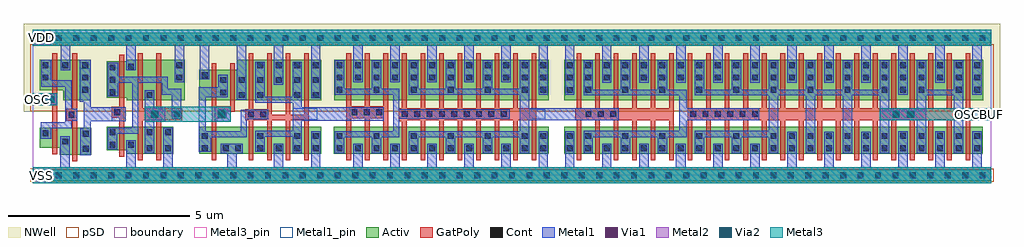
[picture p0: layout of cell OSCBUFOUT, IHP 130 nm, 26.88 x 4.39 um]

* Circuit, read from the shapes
.subckt OSCBUFOUT OSC OSCBUF VDD VSS
XM1 VSS OSC n1 VSS sg13_lv_nmos w=0.55u l=0.13u
XM2 sg13cmos5l_buf_2_4/A n1 VSS VSS sg13_lv_nmos w=0.74u l=0.13u
XM3 VSS sg13cmos5l_buf_2_4/A n2 VSS sg13_lv_nmos w=0.64u l=0.13u
XM4 sg13cmos5l_buf_4_7/A n2 VSS VSS sg13_lv_nmos w=0.74u l=0.13u m=2
XM5 VSS sg13cmos5l_buf_4_7/A n3 VSS sg13_lv_nmos w=0.74u l=0.13u
XM6 sg13cmos5l_buf_8_0/A n3 VSS VSS sg13_lv_nmos w=0.74u l=0.13u m=4
XM7 VSS sg13cmos5l_buf_8_0/A n4 VSS sg13_lv_nmos w=0.74u l=0.13u m=3
XM8 sg13cmos5l_buf_16_1/A n4 VSS VSS sg13_lv_nmos w=0.74u l=0.13u m=8
XM9 n5 sg13cmos5l_buf_16_1/A VSS VSS sg13_lv_nmos w=0.74u l=0.13u m=6
XM10 OSCBUF n5 VSS VSS sg13_lv_nmos w=0.74u l=0.13u m=16
XM11 VDD OSC n1 VDD sg13_lv_pmos w=0.84u l=0.13u
XM12 sg13cmos5l_buf_2_4/A n1 VDD VDD sg13_lv_pmos w=1.12u l=0.13u
XM13 VDD sg13cmos5l_buf_2_4/A n2 VDD sg13_lv_pmos w=1u l=0.13u
XM14 sg13cmos5l_buf_4_7/A n2 VDD VDD sg13_lv_pmos w=1.12u l=0.13u m=2
XM15 n3 sg13cmos5l_buf_4_7/A VDD VDD sg13_lv_pmos w=0.84u l=0.13u m=2
XM16 sg13cmos5l_buf_8_0/A n3 VDD VDD sg13_lv_pmos w=1.12u l=0.13u m=4
XM17 VDD sg13cmos5l_buf_8_0/A n4 VDD sg13_lv_pmos w=1.12u l=0.13u m=3
XM18 sg13cmos5l_buf_16_1/A n4 VDD VDD sg13_lv_pmos w=1.12u l=0.13u m=8
XM19 n5 sg13cmos5l_buf_16_1/A VDD VDD sg13_lv_pmos w=1.12u l=0.13u m=6
XM20 OSCBUF n5 VDD VDD sg13_lv_pmos w=1.12u l=0.13u m=16
.ends

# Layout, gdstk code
from math import pi, radians
import gdstk
lib = gdstk.Library(unit=1e-6, precision=1e-09)
def R(c, l, rs):  # rectangles x0, y0, x1, y1
    for r in rs: c.add(gdstk.rectangle(r[:2], r[2:], *l))
def A(c, l, x, y, w, h, nx, ny, dx, dy):  # array of equal rectangles
    R(c, l, [(x+i*dx, y+j*dy, x+i*dx+w, y+j*dy+h) for i in range(nx) for j in range(ny)])
def P(c, l, *ps):  # polygons
    for p in ps: c.add(gdstk.Polygon(p, *l))
Activ = (1, 0)
GatPoly = (5, 0)
Cont = (6, 0)
Metal1 = (8, 0)
Metal1_pin = (8, 2)
Metal2 = (10, 0)
pSD = (14, 0)
Via1 = (19, 0)
Via2 = (29, 0)
Metal3 = (30, 0)
Metal3_pin = (30, 2)
NWell = (31, 0)
boundary = (189, 4)

sg13cmos5l_buf_8 = lib.new_cell('sg13cmos5l_buf_8')
R(sg13cmos5l_buf_8, Activ, [(0,-0.15,6.24,0.15), (0.135,0.59,6.05,1.33), (0.14,2.06,6.055,3.18), (0,3.63,6.24,3.93)])
P(sg13cmos5l_buf_8, GatPoly, [(0.48,0.41),(0.48,3.36),(0.61,3.36),(0.61,1.9),(0.99,1.9),(0.99,3.36),(1.12,3.36),(1.12,1.9),(1.5,1.9),(1.5,3.36),(1.63,3.36),(1.63,0.41),(1.5,0.41),(1.5,1.57),(1.12,1.57),(1.12,0.41),(0.99,0.41),(0.99,1.57),(0.61,1.57),(0.61,0.41)],
  [(2.01,0.41),(2.01,1.49),(1.925,1.49),(1.925,1.85),(2.01,1.85),(2.01,3.36),(2.14,3.36),(2.14,1.85),(2.52,1.85),(2.52,3.36),(2.65,3.36),(2.65,1.85),(3.03,1.85),(3.03,3.36),(3.16,3.36),(3.16,1.85),(3.54,1.85),(3.54,3.36),(3.67,3.36),(3.67,1.85),(4.05,1.85),(4.05,3.36),(4.18,3.36),(4.18,1.85),(4.56,1.85),(4.56,3.36),(4.69,3.36),(4.69,1.85),(5.07,1.85),(5.07,3.36),(5.2,3.36),(5.2,1.85),(5.58,1.85),(5.58,3.36),(5.71,3.36),(5.71,0.41),(5.58,0.41),(5.58,1.52),(5.2,1.52),(5.2,0.41),(5.07,0.41),(5.07,1.52),(4.69,1.52),(4.69,0.41),(4.56,0.41),(4.56,1.52),(4.18,1.52),(4.18,0.41),(4.05,0.41),(4.05,1.52),(3.67,1.52),(3.67,0.41),(3.54,0.41),(3.54,1.52),(3.16,1.52),(3.16,0.41),(3.03,0.41),(3.03,1.52),(2.65,1.52),(2.65,0.41),(2.52,0.41),(2.52,1.52),(2.14,1.52),(2.14,0.41)])
A(sg13cmos5l_buf_8, Cont, 0.21, 0.66, 0.16, 0.16, 12, 2, 0.51, 1.95)
A(sg13cmos5l_buf_8, Cont, 0.21, 1, 0.16, 0.16, 6, 2, 1.02, 1.27)
A(sg13cmos5l_buf_8, Cont, 2.01, 1.605, 0.16, 0.16, 9, 1, 0.34, 0)
A(sg13cmos5l_buf_8, Cont, 0.62, 1.655, 0.16, 0.16, 3, 1, 0.34, 0)
A(sg13cmos5l_buf_8, Cont, 0.21, 2.95, 0.16, 0.16, 12, 1, 0.51, 0)
R(sg13cmos5l_buf_8, Cont, [(0.16,-0.08,0.32,0.08), (0.16,-0.08,0.32,0.08), (0.64,-0.08,0.8,0.08), (0.64,-0.08,0.8,0.08), (1.12,-0.08,1.28,0.08), (1.12,-0.08,1.28,0.08), (1.6,-0.08,1.76,0.08), (1.6,-0.08,1.76,0.08), (2.08,-0.08,2.24,0.08), (2.08,-0.08,2.24,0.08), (2.56,-0.08,2.72,0.08), (2.56,-0.08,2.72,0.08), (3.04,-0.08,3.2,0.08), (3.04,-0.08,3.2,0.08), (3.52,-0.08,3.68,0.08), (3.52,-0.08,3.68,0.08), (4,-0.08,4.16,0.08), (4,-0.08,4.16,0.08), (4.48,-0.08,4.64,0.08), (4.48,-0.08,4.64,0.08), (4.96,-0.08,5.12,0.08), (4.96,-0.08,5.12,0.08), (5.44,-0.08,5.6,0.08), (5.44,-0.08,5.6,0.08), (5.92,-0.08,6.08,0.08), (5.92,-0.08,6.08,0.08), (5.82,1,5.98,1.16), (5.82,2.27,5.98,2.43), (0.16,3.7,0.32,3.86), (0.16,3.7,0.32,3.86), (0.64,3.7,0.8,3.86), (0.64,3.7,0.8,3.86), (1.12,3.7,1.28,3.86), (1.12,3.7,1.28,3.86), (1.6,3.7,1.76,3.86), (1.6,3.7,1.76,3.86), (2.08,3.7,2.24,3.86), (2.08,3.7,2.24,3.86), (2.56,3.7,2.72,3.86), (2.56,3.7,2.72,3.86), (3.04,3.7,3.2,3.86), (3.04,3.7,3.2,3.86), (3.52,3.7,3.68,3.86), (3.52,3.7,3.68,3.86), (4,3.7,4.16,3.86), (4,3.7,4.16,3.86), (4.48,3.7,4.64,3.86), (4.48,3.7,4.64,3.86), (4.96,3.7,5.12,3.86), (4.96,3.7,5.12,3.86), (5.44,3.7,5.6,3.86), (5.44,3.7,5.6,3.86), (5.92,3.7,6.08,3.86), (5.92,3.7,6.08,3.86)])
R(sg13cmos5l_buf_8, Metal1, [(0.57,1.5,1.51,1.865)])
P(sg13cmos5l_buf_8, Metal1, [(0,-0.22),(0,0.22),(0.67,0.22),(0.67,0.87),(0.93,0.87),(0.93,0.22),(1.69,0.22),(1.69,0.87),(1.95,0.87),(1.95,0.22),(2.71,0.22),(2.71,0.87),(2.97,0.87),(2.97,0.22),(3.73,0.22),(3.73,0.87),(3.99,0.87),(3.99,0.22),(4.75,0.22),(4.75,0.87),(5.01,0.87),(5.01,0.22),(5.77,0.22),(5.77,1.21),(6.03,1.21),(6.03,0.22),(6.24,0.22),(6.24,-0.22)],
  [(5.77,2.22),(5.77,3.56),(5.01,3.56),(5.01,2.56),(4.75,2.56),(4.75,3.56),(3.99,3.56),(3.99,2.56),(3.73,2.56),(3.73,3.56),(2.97,3.56),(2.97,2.56),(2.71,2.56),(2.71,3.56),(1.95,3.56),(1.95,2.56),(1.69,2.56),(1.69,3.56),(0.93,3.56),(0.93,2.56),(0.67,2.56),(0.67,3.56),(0,3.56),(0,4),(6.24,4),(6.24,3.56),(6.03,3.56),(6.03,2.22)],
  [(2.2,0.61),(2.2,1.21),(5.26,1.21),(5.26,2.22),(2.2,2.22),(2.2,3.16),(2.46,3.16),(2.46,2.38),(3.22,2.38),(3.22,3.16),(3.48,3.16),(3.48,2.38),(4.24,2.38),(4.24,3.16),(4.5,3.16),(4.5,2.38),(5.26,2.38),(5.26,3.16),(5.52,3.16),(5.52,1.815),(5.95,1.815),(5.95,1.55),(5.52,1.55),(5.52,0.61),(5.26,0.61),(5.26,1.05),(4.5,1.05),(4.5,0.61),(4.24,0.61),(4.24,1.05),(3.48,1.05),(3.48,0.61),(3.22,0.61),(3.22,1.05),(2.46,1.05),(2.46,0.61)],
  [(0.16,0.61),(0.16,1.21),(1.77,1.21),(1.77,2.22),(0.16,2.22),(0.16,3.16),(0.42,3.16),(0.42,2.38),(1.18,2.38),(1.18,3.16),(1.44,3.16),(1.44,2.38),(1.94,2.38),(1.94,1.815),(4.975,1.815),(4.975,1.555),(1.94,1.555),(1.94,1.05),(1.44,1.05),(1.44,0.61),(1.18,0.61),(1.18,1.05),(0.42,1.05),(0.42,0.61)])
R(sg13cmos5l_buf_8, Metal1_pin, [(0,-0.22,6.24,0.22), (0.57,1.5,1.51,1.865), (5.52,1.55,5.95,1.815), (0,3.56,6.24,4)])
R(sg13cmos5l_buf_8, pSD, [(-0.24,-0.18,6.48,0.18), (-0.16,1.76,6.4,3.6)])
R(sg13cmos5l_buf_8, NWell, [(-0.24,1.75,6.48,4.17)])
R(sg13cmos5l_buf_8, boundary, [(0,0,6.24,3.78)])
sg13cmos5l_buf_8.add(gdstk.Label('VSS', (3.095,0.005), layer=8, texttype=25))
sg13cmos5l_buf_8.add(gdstk.Label('A', (0.96,1.68), layer=8, texttype=25))
sg13cmos5l_buf_8.add(gdstk.Label('VDD', (3.33,3.775), layer=8, texttype=25))
sg13cmos5l_buf_8.add(gdstk.Label('X', (5.76,1.68), layer=8, texttype=25))

sg13cmos5l_buf_16 = lib.new_cell('sg13cmos5l_buf_16')
R(sg13cmos5l_buf_16, Activ, [(0,-0.15,12,0.15), (0.24,0.59,11.76,1.33), (0.225,2.06,11.76,3.18), (0,3.63,12,3.93)])
P(sg13cmos5l_buf_16, GatPoly, [(0.58,0.41),(0.58,3.36),(0.71,3.36),(0.71,1.85),(1.09,1.85),(1.09,3.36),(1.22,3.36),(1.22,1.85),(1.6,1.85),(1.6,3.36),(1.73,3.36),(1.73,1.85),(2.11,1.85),(2.11,3.36),(2.24,3.36),(2.24,1.85),(2.62,1.85),(2.62,3.36),(2.75,3.36),(2.75,1.85),(3.13,1.85),(3.13,3.36),(3.26,3.36),(3.26,1.85),(3.64,1.85),(3.64,3.36),(3.77,3.36),(3.77,1.85),(4.15,1.85),(4.15,3.36),(4.28,3.36),(4.28,1.85),(4.66,1.85),(4.66,3.36),(4.79,3.36),(4.79,1.85),(5.17,1.85),(5.17,3.36),(5.3,3.36),(5.3,1.85),(5.68,1.85),(5.68,3.36),(5.81,3.36),(5.81,1.85),(6.19,1.85),(6.19,3.36),(6.32,3.36),(6.32,1.85),(6.7,1.85),(6.7,3.36),(6.83,3.36),(6.83,1.85),(7.21,1.85),(7.21,3.36),(7.34,3.36),(7.34,1.85),(7.72,1.85),(7.72,3.36),(7.85,3.36),(7.85,1.85),(8.23,1.85),(8.23,3.36),(8.36,3.36),(8.36,0.41),(8.23,0.41),(8.23,1.52),(7.85,1.52),(7.85,0.41),(7.72,0.41),(7.72,1.52),(7.34,1.52),(7.34,0.41),(7.21,0.41),(7.21,1.52),(6.83,1.52),(6.83,0.41),(6.7,0.41),(6.7,1.52),(6.32,1.52),(6.32,0.41),(6.19,0.41),(6.19,1.52),(5.81,1.52),(5.81,0.41),(5.68,0.41),(5.68,1.52),(5.3,1.52),(5.3,0.41),(5.17,0.41),(5.17,1.52),(4.79,1.52),(4.79,0.41),(4.66,0.41),(4.66,1.52),(4.28,1.52),(4.28,0.41),(4.15,0.41),(4.15,1.52),(3.77,1.52),(3.77,0.41),(3.64,0.41),(3.64,1.52),(3.26,1.52),(3.26,0.41),(3.13,0.41),(3.13,1.52),(2.75,1.52),(2.75,0.41),(2.62,0.41),(2.62,1.52),(2.24,1.52),(2.24,0.41),(2.11,0.41),(2.11,1.52),(1.73,1.52),(1.73,0.41),(1.6,0.41),(1.6,1.52),(1.22,1.52),(1.22,0.41),(1.09,0.41),(1.09,1.52),(0.71,1.52),(0.71,0.41)],
  [(8.74,0.41),(8.74,3.36),(8.87,3.36),(8.87,1.85),(9.25,1.85),(9.25,3.36),(9.38,3.36),(9.38,1.85),(9.76,1.85),(9.76,3.36),(9.89,3.36),(9.89,1.85),(10.27,1.85),(10.27,3.36),(10.4,3.36),(10.4,1.85),(10.78,1.85),(10.78,3.36),(10.91,3.36),(10.91,1.85),(11.29,1.85),(11.29,3.36),(11.42,3.36),(11.42,1.85),(11.46,1.85),(11.46,1.52),(11.42,1.52),(11.42,0.41),(11.29,0.41),(11.29,1.52),(10.91,1.52),(10.91,0.41),(10.78,0.41),(10.78,1.52),(10.4,1.52),(10.4,0.41),(10.27,0.41),(10.27,1.52),(9.89,1.52),(9.89,0.41),(9.76,0.41),(9.76,1.52),(9.38,1.52),(9.38,0.41),(9.25,0.41),(9.25,1.52),(8.87,1.52),(8.87,0.41)])
A(sg13cmos5l_buf_16, Cont, 0.31, 0.66, 0.16, 0.16, 23, 2, 0.51, 1.95)
A(sg13cmos5l_buf_16, Cont, 0.82, 1, 0.16, 0.16, 3, 1, 1.02, 0)
A(sg13cmos5l_buf_16, Cont, 3.37, 1, 0.16, 0.16, 6, 1, 0.51, 0)
A(sg13cmos5l_buf_16, Cont, 6.94, 1, 0.16, 0.16, 5, 1, 1.02, 0)
A(sg13cmos5l_buf_16, Cont, 6.43, 1.605, 0.16, 0.16, 6, 1, 0.34, 0)
A(sg13cmos5l_buf_16, Cont, 10.335, 1.605, 0.16, 0.16, 3, 1, 0.34, 0)
A(sg13cmos5l_buf_16, Cont, 1.84, 2.27, 0.16, 0.16, 3, 1, 0.51, 0)
A(sg13cmos5l_buf_16, Cont, 3.88, 2.27, 0.16, 0.16, 8, 1, 1.02, 0)
A(sg13cmos5l_buf_16, Cont, 0.31, 2.95, 0.16, 0.16, 23, 1, 0.51, 0)
R(sg13cmos5l_buf_16, Cont, [(0.16,-0.08,0.32,0.08), (0.16,-0.08,0.32,0.08), (0.64,-0.08,0.8,0.08), (0.64,-0.08,0.8,0.08), (1.12,-0.08,1.28,0.08), (1.12,-0.08,1.28,0.08), (1.6,-0.08,1.76,0.08), (1.6,-0.08,1.76,0.08), (2.08,-0.08,2.24,0.08), (2.08,-0.08,2.24,0.08), (2.56,-0.08,2.72,0.08), (2.56,-0.08,2.72,0.08), (3.04,-0.08,3.2,0.08), (3.04,-0.08,3.2,0.08), (3.52,-0.08,3.68,0.08), (3.52,-0.08,3.68,0.08), (4,-0.08,4.16,0.08), (4,-0.08,4.16,0.08), (4.48,-0.08,4.64,0.08), (4.48,-0.08,4.64,0.08), (4.96,-0.08,5.12,0.08), (4.96,-0.08,5.12,0.08), (5.44,-0.08,5.6,0.08), (5.44,-0.08,5.6,0.08), (5.92,-0.08,6.08,0.08), (5.92,-0.08,6.08,0.08), (6.4,-0.08,6.56,0.08), (6.4,-0.08,6.56,0.08), (6.88,-0.08,7.04,0.08), (6.88,-0.08,7.04,0.08), (7.36,-0.08,7.52,0.08), (7.36,-0.08,7.52,0.08), (7.84,-0.08,8,0.08), (7.84,-0.08,8,0.08), (8.32,-0.08,8.48,0.08), (8.32,-0.08,8.48,0.08), (8.8,-0.08,8.96,0.08), (8.8,-0.08,8.96,0.08), (9.28,-0.08,9.44,0.08), (9.28,-0.08,9.44,0.08), (9.76,-0.08,9.92,0.08), (9.76,-0.08,9.92,0.08), (10.24,-0.08,10.4,0.08), (10.24,-0.08,10.4,0.08), (10.72,-0.08,10.88,0.08), (10.72,-0.08,10.88,0.08), (11.2,-0.08,11.36,0.08), (11.2,-0.08,11.36,0.08), (11.68,-0.08,11.84,0.08), (11.68,-0.08,11.84,0.08), (0.31,1,0.47,1.16), (11.53,1,11.69,1.16), (1.33,1.005,1.49,1.165), (2.35,1.005,2.51,1.165), (11.53,2.265,11.69,2.425), (0.31,2.27,0.47,2.43), (0.82,2.27,0.98,2.43), (0.16,3.7,0.32,3.86), (0.16,3.7,0.32,3.86), (0.64,3.7,0.8,3.86), (0.64,3.7,0.8,3.86), (1.12,3.7,1.28,3.86), (1.12,3.7,1.28,3.86), (1.6,3.7,1.76,3.86), (1.6,3.7,1.76,3.86), (2.08,3.7,2.24,3.86), (2.08,3.7,2.24,3.86), (2.56,3.7,2.72,3.86), (2.56,3.7,2.72,3.86), (3.04,3.7,3.2,3.86), (3.04,3.7,3.2,3.86), (3.52,3.7,3.68,3.86), (3.52,3.7,3.68,3.86), (4,3.7,4.16,3.86), (4,3.7,4.16,3.86), (4.48,3.7,4.64,3.86), (4.48,3.7,4.64,3.86), (4.96,3.7,5.12,3.86), (4.96,3.7,5.12,3.86), (5.44,3.7,5.6,3.86), (5.44,3.7,5.6,3.86), (5.92,3.7,6.08,3.86), (5.92,3.7,6.08,3.86), (6.4,3.7,6.56,3.86), (6.4,3.7,6.56,3.86), (6.88,3.7,7.04,3.86), (6.88,3.7,7.04,3.86), (7.36,3.7,7.52,3.86), (7.36,3.7,7.52,3.86), (7.84,3.7,8,3.86), (7.84,3.7,8,3.86), (8.32,3.7,8.48,3.86), (8.32,3.7,8.48,3.86), (8.8,3.7,8.96,3.86), (8.8,3.7,8.96,3.86), (9.28,3.7,9.44,3.86), (9.28,3.7,9.44,3.86), (9.76,3.7,9.92,3.86), (9.76,3.7,9.92,3.86), (10.24,3.7,10.4,3.86), (10.24,3.7,10.4,3.86), (10.72,3.7,10.88,3.86), (10.72,3.7,10.88,3.86), (11.2,3.7,11.36,3.86), (11.2,3.7,11.36,3.86), (11.68,3.7,11.84,3.86), (11.68,3.7,11.84,3.86)])
R(sg13cmos5l_buf_16, Metal1, [(10.26,1.52,11.44,1.85)])
P(sg13cmos5l_buf_16, Metal1, [(0.77,0.61),(0.77,3.16),(1.03,3.16),(1.03,2.36),(1.79,2.36),(1.79,3.16),(2.05,3.16),(2.05,1.85),(2.81,1.85),(2.81,3.16),(3.07,3.16),(3.07,2.36),(3.83,2.36),(3.83,3.16),(4.09,3.16),(4.09,2.36),(4.85,2.36),(4.85,3.16),(5.11,3.16),(5.11,2.36),(5.87,2.36),(5.87,3.16),(6.13,3.16),(6.13,2.36),(6.89,2.36),(6.89,3.16),(7.15,3.16),(7.15,2.36),(7.91,2.36),(7.91,3.16),(8.17,3.16),(8.17,2.2),(6.13,2.2),(6.13,1.22),(8.17,1.22),(8.17,0.61),(7.91,0.61),(7.91,1.05),(7.15,1.05),(7.15,0.61),(6.89,0.61),(6.89,1.05),(6.13,1.05),(6.13,0.61),(5.87,0.61),(5.87,2.2),(5.11,2.2),(5.11,0.61),(4.85,0.61),(4.85,2.2),(4.09,2.2),(4.09,0.61),(3.83,0.61),(3.83,2.2),(3.07,2.2),(3.07,0.61),(2.81,0.61),(2.81,1.52),(2.05,1.52),(2.05,0.61),(1.79,0.61),(1.79,2.2),(1.03,2.2),(1.03,0.61)],
  [(8.93,0.61),(8.93,1.05),(8.385,1.05),(8.385,1.52),(6.395,1.52),(6.395,1.85),(8.385,1.85),(8.385,2.36),(8.93,2.36),(8.93,3.16),(9.19,3.16),(9.19,2.36),(9.95,2.36),(9.95,3.16),(10.21,3.16),(10.21,2.36),(10.97,2.36),(10.97,3.16),(11.23,3.16),(11.23,2.2),(8.595,2.2),(8.595,1.22),(11.23,1.22),(11.23,0.61),(10.97,0.61),(10.97,1.05),(10.21,1.05),(10.21,0.61),(9.95,0.61),(9.95,1.05),(9.19,1.05),(9.19,0.61)],
  [(11.48,2.215),(11.48,3.56),(10.72,3.56),(10.72,2.545),(10.46,2.545),(10.46,3.56),(9.7,3.56),(9.7,2.54),(9.44,2.54),(9.44,3.56),(8.68,3.56),(8.68,2.54),(8.42,2.54),(8.42,3.56),(7.66,3.56),(7.66,2.54),(7.4,2.54),(7.4,3.56),(6.64,3.56),(6.64,2.54),(6.38,2.54),(6.38,3.56),(5.62,3.56),(5.62,2.54),(5.36,2.54),(5.36,3.56),(4.6,3.56),(4.6,2.54),(4.34,2.54),(4.34,3.56),(3.58,3.56),(3.58,2.54),(3.32,2.54),(3.32,3.56),(2.56,3.56),(2.56,2.22),(2.3,2.22),(2.3,3.56),(1.54,3.56),(1.54,2.54),(1.28,2.54),(1.28,3.56),(0.52,3.56),(0.52,2.22),(0.26,2.22),(0.26,3.56),(0,3.56),(0,4),(12,4),(12,3.56),(11.74,3.56),(11.74,2.215)],
  [(0,-0.22),(0,0.22),(0.26,0.22),(0.26,1.21),(0.52,1.21),(0.52,0.22),(1.28,0.22),(1.28,1.21),(1.54,1.21),(1.54,0.22),(2.3,0.22),(2.3,1.21),(2.56,1.21),(2.56,0.22),(3.32,0.22),(3.32,1.195),(3.58,1.195),(3.58,0.22),(4.34,0.22),(4.34,1.195),(4.6,1.195),(4.6,0.22),(5.36,0.22),(5.36,1.195),(5.62,1.195),(5.62,0.22),(6.38,0.22),(6.38,0.87),(6.64,0.87),(6.64,0.22),(7.4,0.22),(7.4,0.87),(7.66,0.87),(7.66,0.22),(8.42,0.22),(8.42,0.87),(8.685,0.87),(8.685,0.22),(9.44,0.22),(9.44,0.87),(9.7,0.87),(9.7,0.22),(10.46,0.22),(10.46,0.87),(10.72,0.87),(10.72,0.22),(11.48,0.22),(11.48,1.21),(11.74,1.21),(11.74,0.22),(12,0.22),(12,-0.22)])
R(sg13cmos5l_buf_16, Metal1_pin, [(0,-0.22,12,0.22), (1.79,1.52,3.07,1.85), (10.26,1.52,11.44,1.85), (0,3.56,12,4)])
R(sg13cmos5l_buf_16, pSD, [(-0.07,-0.18,12.07,0.18), (-0.07,1.76,12.07,3.6)])
R(sg13cmos5l_buf_16, NWell, [(-0.24,1.75,12.24,4.17)])
R(sg13cmos5l_buf_16, boundary, [(0,0,12,3.78)])
sg13cmos5l_buf_16.add(gdstk.Label('X', (2.42,1.68), layer=8, texttype=25))
sg13cmos5l_buf_16.add(gdstk.Label('A', (10.855,1.755), layer=8, texttype=25))
sg13cmos5l_buf_16.add(gdstk.Label('VSS', (6.01,0.055), layer=8, texttype=25))
sg13cmos5l_buf_16.add(gdstk.Label('VDD', (5.78,3.835), layer=8, texttype=25))

via_stack_1 = lib.new_cell('via_stack$1')
R(via_stack_1, Metal1, [(-0.35,-0.105,0.35,0.105)])
R(via_stack_1, Metal2, [(-0.35,-0.1,0.35,0.1)])
R(via_stack_1, Via1, [(-0.3,-0.095,-0.11,0.095), (0.11,-0.095,0.3,0.095)])
R(via_stack_1, Via2, [(-0.3,-0.095,-0.11,0.095), (0.11,-0.095,0.3,0.095)])
R(via_stack_1, Metal3, [(-0.35,-0.1,0.35,0.1)])

sg13cmos5l_buf_1 = lib.new_cell('sg13cmos5l_buf_1')
R(sg13cmos5l_buf_1, Activ, [(0,-0.15,1.92,0.15), (0,3.63,1.92,3.93)])
P(sg13cmos5l_buf_1, Activ, [(0.84,2.06),(0.84,2.34),(0.2,2.34),(0.2,3.18),(1.595,3.18),(1.595,2.06)],
  [(0.74,0.57),(0.74,0.76),(0.2,0.76),(0.2,1.31),(1.61,1.31),(1.61,0.57)])
P(sg13cmos5l_buf_1, GatPoly, [(0.54,0.58),(0.54,1.93),(0.365,1.93),(0.365,2.23),(0.54,2.23),(0.54,3.36),(0.67,3.36),(0.67,0.58)],
  [(1.09,0.39),(1.09,1.5),(0.92,1.5),(0.92,1.83),(1.09,1.83),(1.09,3.36),(1.22,3.36),(1.22,0.39)])
A(sg13cmos5l_buf_1, Cont, 0.16, -0.08, 0.16, 0.16, 4, 2, 0.48, 3.78)
A(sg13cmos5l_buf_1, Cont, 1.365, 2.27, 0.16, 0.16, 1, 3, 0, 0.34)
R(sg13cmos5l_buf_1, Cont, [(1.38,0.65,1.54,0.81), (0.82,0.85,0.98,1.01), (1.38,1.065,1.54,1.225), (0.27,1.075,0.43,1.235), (0.99,1.585,1.15,1.745), (0.435,2,0.595,2.16), (0.27,2.61,0.43,2.77), (0.27,2.95,0.43,3.11), (0.82,2.95,0.98,3.11)])
R(sg13cmos5l_buf_1, Metal1, [(0.285,1.93,0.68,2.26)])
P(sg13cmos5l_buf_1, Metal1, [(0.77,2.89),(0.77,3.56),(0,3.56),(0,4),(1.92,4),(1.92,3.56),(1.03,3.56),(1.03,2.89)],
  [(0,-0.22),(0,0.22),(0.765,0.22),(0.765,1.07),(1.015,1.07),(1.015,0.22),(1.92,0.22),(1.92,-0.22)],
  [(1.31,0.55),(1.31,1.29),(1.41,1.29),(1.41,2.02),(1.3,2.02),(1.3,3.18),(1.6,3.18),(1.6,0.55)],
  [(0.215,1),(0.215,1.465),(0.9,1.465),(0.9,2.44),(0.24,2.44),(0.24,3.18),(0.51,3.18),(0.51,2.62),(1.07,2.62),(1.07,1.83),(1.225,1.83),(1.225,1.5),(1.07,1.5),(1.07,1.29),(0.515,1.29),(0.515,1)])
R(sg13cmos5l_buf_1, Metal1_pin, [(0,-0.22,1.92,0.22), (0.285,1.93,0.68,2.26), (1.315,2.07,1.58,2.945), (1.315,2.07,1.58,2.945), (0,3.56,1.92,4)])
R(sg13cmos5l_buf_1, pSD, [(-0.065,-0.18,1.99,0.18), (-0.065,1.76,1.99,3.6)])
R(sg13cmos5l_buf_1, NWell, [(-0.24,1.75,2.16,4.17)])
R(sg13cmos5l_buf_1, boundary, [(0,0,1.92,3.78)])
sg13cmos5l_buf_1.add(gdstk.Label('VDD', (1.07,3.83), layer=8, texttype=25))
sg13cmos5l_buf_1.add(gdstk.Label('VSS', (0.98,-0.01), layer=8, texttype=25))
sg13cmos5l_buf_1.add(gdstk.Label('A', (0.53,2.1), layer=8, texttype=25))
sg13cmos5l_buf_1.add(gdstk.Label('X', (1.45,2.51), layer=8, texttype=25))

sg13cmos5l_buf_2 = lib.new_cell('sg13cmos5l_buf_2')
R(sg13cmos5l_buf_2, Activ, [(0,-0.15,2.4,0.15), (0,3.63,2.4,3.93)])
P(sg13cmos5l_buf_2, Activ, [(0.445,0.59),(0.445,1.33),(2.275,1.33),(2.275,0.69),(1.735,0.69),(1.735,0.59)],
  [(0.13,2.06),(0.13,3.18),(1.735,3.18),(1.735,3.135),(2.275,3.135),(2.275,2.135),(1.735,2.135),(1.735,2.06)])
P(sg13cmos5l_buf_2, GatPoly, [(0.785,0.41),(0.785,1.52),(0.205,1.52),(0.205,1.85),(0.785,1.85),(0.785,3.36),(0.915,3.36),(0.915,1.85),(1.295,1.85),(1.295,3.36),(1.425,3.36),(1.425,0.41),(1.295,0.41),(1.295,1.52),(0.915,1.52),(0.915,0.41)],
  [(1.805,0.51),(1.805,3.315),(1.935,3.315),(1.935,1.885),(2.14,1.885),(2.14,1.585),(1.935,1.585),(1.935,0.51)])
A(sg13cmos5l_buf_2, Cont, 0.16, -0.08, 0.16, 0.16, 3, 1, 0.48, 0)
A(sg13cmos5l_buf_2, Cont, 2.045, 2.205, 0.16, 0.16, 1, 3, 0, 0.34)
R(sg13cmos5l_buf_2, Cont, [(0.16,-0.08,0.32,0.08), (1.12,-0.08,1.28,0.08), (1.6,-0.08,1.76,0.08), (1.6,-0.08,1.76,0.08), (2.08,-0.08,2.24,0.08), (2.08,-0.08,2.24,0.08), (0.515,0.66,0.675,0.82), (1.025,0.66,1.185,0.82), (1.535,0.755,1.695,0.915), (2.045,0.76,2.205,0.92), (0.515,1.1,0.675,1.26), (1.025,1.1,1.185,1.26), (2.045,1.1,2.205,1.26), (0.275,1.605,0.435,1.765), (1.91,1.655,2.07,1.815), (1.025,2.13,1.185,2.29), (0.2,2.61,0.36,2.77), (1.535,2.905,1.695,3.065), (0.2,2.95,0.36,3.11), (0.16,3.7,0.32,3.86), (0.16,3.7,0.32,3.86), (0.64,3.7,0.8,3.86), (0.64,3.7,0.8,3.86), (1.12,3.7,1.28,3.86), (1.12,3.7,1.28,3.86), (1.6,3.7,1.76,3.86), (1.6,3.7,1.76,3.86), (2.08,3.7,2.24,3.86), (2.08,3.7,2.24,3.86)])
R(sg13cmos5l_buf_2, Metal1, [(1.755,1.49,2.14,1.87)])
P(sg13cmos5l_buf_2, Metal1, [(0,-0.22),(0,0.22),(0.465,0.22),(0.465,1.31),(0.725,1.31),(0.725,0.22),(1.485,0.22),(1.485,0.965),(1.745,0.965),(1.745,0.22),(2.4,0.22),(2.4,-0.22)],
  [(0.975,0.61),(0.975,1.52),(0.67,1.52),(0.67,1.85),(0.975,1.85),(0.975,2.34),(1.235,2.34),(1.235,0.61)],
  [(0.15,2.56),(0.15,3.56),(0,3.56),(0,4),(2.4,4),(2.4,3.56),(1.745,3.56),(1.745,2.895),(1.485,2.895),(1.485,3.56),(0.41,3.56),(0.41,2.56)],
  [(1.995,0.72),(1.995,1.145),(1.415,1.145),(1.415,2.55),(0.765,2.55),(0.765,2.215),(0.485,2.215),(0.485,1.555),(0.225,1.555),(0.225,2.375),(0.605,2.375),(0.605,2.71),(1.97,2.71),(1.97,3.1),(2.26,3.1),(2.26,2.18),(1.97,2.18),(1.97,2.55),(1.575,2.55),(1.575,1.31),(2.255,1.31),(2.255,0.72)])
R(sg13cmos5l_buf_2, Metal1_pin, [(0,-0.22,2.4,0.22), (1.755,1.49,2.14,1.87), (0.67,1.52,1.235,1.85), (0,3.56,2.4,4)])
R(sg13cmos5l_buf_2, pSD, [(-0.07,-0.18,2.47,0.18), (-0.07,1.76,2.56,3.6)])
R(sg13cmos5l_buf_2, NWell, [(-0.24,1.75,2.64,4.17)])
R(sg13cmos5l_buf_2, boundary, [(0,0,2.4,3.78)])
sg13cmos5l_buf_2.add(gdstk.Label('A', (1.92,1.68), layer=8, texttype=25))
sg13cmos5l_buf_2.add(gdstk.Label('X', (0.96,1.68), layer=8, texttype=25))
sg13cmos5l_buf_2.add(gdstk.Label('VDD', (0.965,3.78), layer=8, texttype=25))
sg13cmos5l_buf_2.add(gdstk.Label('VSS', (1.175,-0.005), layer=8, texttype=25))

via_stack = lib.new_cell('via_stack')
R(via_stack, Metal1, [(-0.145,-0.105,0.145,0.105)])
R(via_stack, Metal2, [(-0.145,-0.1,0.145,0.1)])
R(via_stack, Via1, [(-0.095,-0.095,0.095,0.095)])
R(via_stack, Via2, [(-0.095,-0.095,0.095,0.095)])
R(via_stack, Metal3, [(-0.145,-0.1,0.145,0.1)])

sg13cmos5l_buf_4 = lib.new_cell('sg13cmos5l_buf_4')
R(sg13cmos5l_buf_4, Activ, [(0,-0.15,3.84,0.15), (0.215,0.59,3.575,1.33), (0,3.63,3.84,3.93)])
P(sg13cmos5l_buf_4, Activ, [(0.215,2.06),(0.215,3.18),(2.525,3.18),(2.525,2.9),(3.575,2.9),(3.575,2.06)])
P(sg13cmos5l_buf_4, GatPoly, [(0.555,0.41),(0.555,3.36),(0.685,3.36),(0.685,1.67),(1.065,1.67),(1.065,3.36),(1.195,3.36),(1.195,1.67),(1.575,1.67),(1.575,3.36),(1.705,3.36),(1.705,1.82),(2.085,1.82),(2.085,3.36),(2.215,3.36),(2.215,1.82),(2.3,1.82),(2.3,1.52),(2.215,1.52),(2.215,0.41),(2.085,0.41),(2.085,1.52),(1.705,1.52),(1.705,0.41),(1.575,0.41),(1.575,1.52),(1.195,1.52),(1.195,0.41),(1.065,0.41),(1.065,1.52),(0.685,1.52),(0.685,0.41)],
  [(3.105,0.41),(3.105,1.57),(2.82,1.57),(2.82,1.75),(2.595,1.75),(2.595,3.08),(2.725,3.08),(2.725,1.9),(3.105,1.9),(3.105,3.08),(3.235,3.08),(3.235,0.41)])
A(sg13cmos5l_buf_4, Cont, 0.285, 0.66, 0.16, 0.16, 4, 2, 0.51, 2.29)
A(sg13cmos5l_buf_4, Cont, 0.285, 2.54, 0.16, 0.16, 6, 1, 0.51, 0)
R(sg13cmos5l_buf_4, Cont, [(0.16,-0.08,0.32,0.08), (0.16,-0.08,0.32,0.08), (0.64,-0.08,0.8,0.08), (0.64,-0.08,0.8,0.08), (1.12,-0.08,1.28,0.08), (1.12,-0.08,1.28,0.08), (1.6,-0.08,1.76,0.08), (1.6,-0.08,1.76,0.08), (2.08,-0.08,2.24,0.08), (2.08,-0.08,2.24,0.08), (2.56,-0.08,2.72,0.08), (2.56,-0.08,2.72,0.08), (3.04,-0.08,3.2,0.08), (3.04,-0.08,3.2,0.08), (3.52,-0.08,3.68,0.08), (3.52,-0.08,3.68,0.08), (2.425,0.66,2.585,0.82), (2.765,0.66,2.925,0.82), (3.345,0.66,3.505,0.82), (0.285,1,0.445,1.16), (0.795,1,0.955,1.16), (1.815,1,1.975,1.16), (3.345,1,3.505,1.16), (1.73,1.59,1.89,1.75), (2.07,1.59,2.23,1.75), (2.905,1.655,3.065,1.815), (0.285,2.13,0.445,2.29), (0.795,2.13,0.955,2.29), (1.815,2.13,1.975,2.29), (2.325,2.13,2.485,2.29), (2.835,2.2,2.995,2.36), (3.345,2.67,3.505,2.83), (0.16,3.7,0.32,3.86), (0.16,3.7,0.32,3.86), (0.64,3.7,0.8,3.86), (0.64,3.7,0.8,3.86), (1.12,3.7,1.28,3.86), (1.12,3.7,1.28,3.86), (1.6,3.7,1.76,3.86), (1.6,3.7,1.76,3.86), (2.08,3.7,2.24,3.86), (2.08,3.7,2.24,3.86), (2.56,3.7,2.72,3.86), (2.56,3.7,2.72,3.86), (3.04,3.7,3.2,3.86), (3.04,3.7,3.2,3.86), (3.52,3.7,3.68,3.86), (3.52,3.7,3.68,3.86)])
R(sg13cmos5l_buf_4, Metal1, [(2.7,1.475,3.15,1.885)])
P(sg13cmos5l_buf_4, Metal1, [(0,-0.22),(0,0.22),(0.235,0.22),(0.235,1.21),(0.495,1.21),(0.495,0.22),(1.255,0.22),(1.255,0.87),(1.515,0.87),(1.515,0.22),(2.545,0.22),(2.545,0.61),(2.375,0.61),(2.375,0.87),(2.975,0.87),(2.975,0.61),(2.805,0.61),(2.805,0.22),(3.84,0.22),(3.84,-0.22)],
  [(2.275,2.08),(2.275,3.56),(1.515,3.56),(1.515,2.49),(1.255,2.49),(1.255,3.56),(0.495,3.56),(0.495,2.115),(0.235,2.115),(0.235,3.56),(0,3.56),(0,4),(3.84,4),(3.84,3.56),(3.555,3.56),(3.555,2.64),(3.295,2.64),(3.295,3.56),(2.535,3.56),(2.535,2.08)],
  [(3.245,0.64),(3.245,1.05),(2.265,1.05),(2.265,1.54),(1.68,1.54),(1.68,1.8),(2.43,1.8),(2.43,1.21),(3.4,1.21),(3.4,2.15),(2.785,2.15),(2.785,2.77),(3.045,2.77),(3.045,2.42),(3.59,2.42),(3.59,0.64)],
  [(0.745,0.605),(0.745,1.525),(0.32,1.525),(0.32,1.84),(0.745,1.84),(0.745,3.13),(1.005,3.13),(1.005,2.165),(1.765,2.165),(1.765,3.13),(2.025,3.13),(2.025,1.995),(1.005,1.995),(1.005,1.225),(2.025,1.225),(2.025,0.645),(1.765,0.645),(1.765,1.065),(1.005,1.065),(1.005,0.605)])
R(sg13cmos5l_buf_4, Metal1_pin, [(0,-0.22,3.84,0.22), (2.7,1.475,3.15,1.885), (0.32,1.525,1.005,1.84), (0,3.56,3.84,4)])
R(sg13cmos5l_buf_4, pSD, [(-0.07,-0.18,3.91,0.18), (-0.07,1.76,3.91,3.6)])
R(sg13cmos5l_buf_4, NWell, [(-0.24,1.75,4.08,4.17)])
R(sg13cmos5l_buf_4, boundary, [(0,0,3.84,3.78)])
sg13cmos5l_buf_4.add(gdstk.Label('VDD', (2.33,3.78), layer=8, texttype=25))
sg13cmos5l_buf_4.add(gdstk.Label('A', (2.97,1.8), layer=8, texttype=25))
sg13cmos5l_buf_4.add(gdstk.Label('VSS', (1.44,0), layer=8, texttype=25))
sg13cmos5l_buf_4.add(gdstk.Label('X', (0.48,1.68), layer=8, texttype=25))

oscbufout = lib.new_cell('OSCBUFOUT')
R(oscbufout, Metal1, [(1.16,1.44,2.315,1.82), (6.905,1.45,9.42,1.815), (13.17,1.47,15.89,1.8)])
R(oscbufout, Metal2, [(-0.25,-0.27,0.2,0.17), (2.835,1.425,3.4,1.835), (4.675,1.425,5.21,1.835), (23.08,1.47,24.36,1.8), (-0.25,1.88,0.425,2.21), (-0.25,3.51,0.245,3.95)])
R(oscbufout, Metal3, [(-0.25,-0.27,26.15,0.17), (2.835,1.425,5.21,1.835), (23.08,1.47,26.15,1.8), (-0.25,1.88,0.43,2.21), (-0.25,3.51,26.15,3.95)])
R(oscbufout, Metal3_pin, [(-0.25,-0.27,26.15,0.17), (25.6,1.47,26.15,1.8), (-0.25,1.88,0.035,2.21), (-0.25,3.51,26.15,3.95)])
oscbufout.add(gdstk.Reference(sg13cmos5l_buf_8, (7.91,-0.05)))
oscbufout.add(gdstk.Reference(sg13cmos5l_buf_16, (26.15,-0.05), rotation=pi, x_reflection=True))
oscbufout.add(gdstk.Reference(via_stack_1, (23.73,1.63)))
oscbufout.add(gdstk.Reference(sg13cmos5l_buf_1, (-0.25,-0.05)))
oscbufout.add(gdstk.Reference(sg13cmos5l_buf_2, (4.07,-0.05), rotation=pi, x_reflection=True))
oscbufout.add(gdstk.Reference(via_stack, (3.11,1.625)))
oscbufout.add(gdstk.Reference(via_stack, (4.955,1.625)))
oscbufout.add(gdstk.Reference(sg13cmos5l_buf_4, (7.91,-0.05), rotation=pi, x_reflection=True))
oscbufout.add(gdstk.Reference(via_stack, (0.25,2.035)))
r = gdstk.Reference(via_stack, (-0.01,3.73)); r.repetition = gdstk.Repetition(1, 1, v1=(0,0), v2=(0,0)); oscbufout.add(r)
r = gdstk.Reference(via_stack, (-0.01,-0.05)); r.repetition = gdstk.Repetition(1, 1, v1=(0,0), v2=(0,0)); oscbufout.add(r)
oscbufout.add(gdstk.Label('VDD', (-0.01,3.735), layer=30, texttype=25))
oscbufout.add(gdstk.Label('VSS', (-0.02,-0.05), layer=30, texttype=25))
oscbufout.add(gdstk.Label('OSCBUF', (25.815,1.625), layer=30, texttype=25))
oscbufout.add(gdstk.Label('OSC', (-0.13,2.035), layer=30, texttype=25))

lib.write_gds('OSCBUFOUT.gds')
